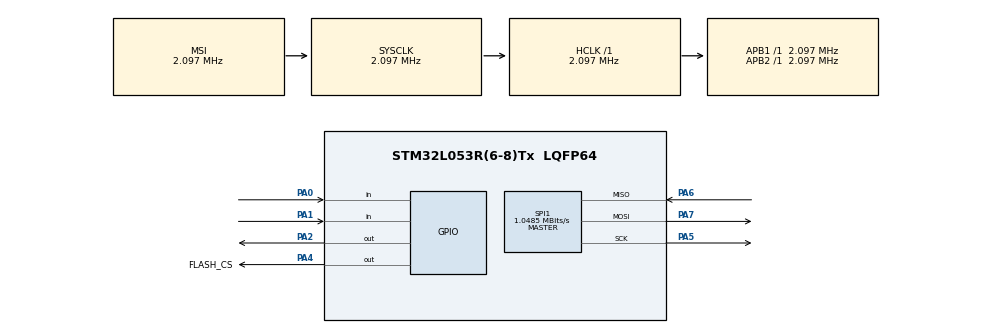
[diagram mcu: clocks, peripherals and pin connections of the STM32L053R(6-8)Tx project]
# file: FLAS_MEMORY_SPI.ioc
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Mcu.Family=STM32L0
Mcu.Name=STM32L053R(6-8)Tx
Mcu.Package=LQFP64
PA0.Signal=GPIO_Input
PA1.Signal=GPIO_Input
PA13.Mode=Serial_Wire
PA13.Signal=SYS_SWDIO
PA14.Mode=Serial_Wire
PA14.Signal=SYS_SWCLK
PA2.Signal=GPIO_Output
PA4.GPIO_Label=FLASH_CS
PA4.Signal=GPIO_Output
PA5.Mode=Full_Duplex_Master
PA5.Signal=SPI1_SCK
PA6.Mode=Full_Duplex_Master
PA6.Signal=SPI1_MISO
PA7.Mode=Full_Duplex_Master
PA7.Signal=SPI1_MOSI
PH0-OSC_IN.Mode=HSE-External-Oscillator
PH0-OSC_IN.Signal=RCC_OSC_IN
PH1-OSC_OUT.Mode=HSE-External-Oscillator
PH1-OSC_OUT.Signal=RCC_OSC_OUT
ProjectManager.HeapSize=0x200
ProjectManager.StackSize=0x400
ProjectManager.TargetToolchain=STM32CubeIDE
RCC.AHBFreq_Value=2097000
RCC.APB1Freq_Value=2097000
RCC.APB1TimFreq_Value=2097000
RCC.APB2Freq_Value=2097000
RCC.APB2TimFreq_Value=2097000
RCC.HSE_VALUE=8000000
RCC.HSI16_VALUE=16000000
RCC.HSI48_VALUE=48000000
RCC.HSI_VALUE=16000000
RCC.LSE_VALUE=32768
RCC.MSI_VALUE=2097000
RCC.SYSCLKFreq_VALUE=2097000
RCC.VCOOutputFreq_Value=48000000
SPI1.CalculateBaudRate=1.0485 MBits/s
SPI1.Direction=SPI_DIRECTION_2LINES
SPI1.Mode=SPI_MODE_MASTER
SPI1.VirtualType=VM_MASTER
board=custom

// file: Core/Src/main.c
/* USER CODE BEGIN Header */
/**
  ******************************************************************************
  * @file           : main.c
  * @brief          : Main program body
  ******************************************************************************
  * @attention
  *
  * Copyright (c) 2023 STMicroelectronics.
  * All rights reserved.
  *
  * This software is licensed under terms that can be found in the LICENSE file
  * in the root directory of this software component.
  * If no LICENSE file comes with this software, it is provided AS-IS.
  *
  ******************************************************************************
  */
/* USER CODE END Header */
#include "main.h"

/* USER CODE BEGIN Includes */
#include "w25qxx.h"
#include "w25qxxConf.h"
#include <string.h>
/* USER CODE END Includes */

/* USER CODE BEGIN PD */
#define PUSH_BUTTON1_Pin GPIO_PIN_0
#define PUSH_BUTTON1_GPIO_Port GPIOA
#define PUSH_BUTTON2_Pin GPIO_PIN_1
#define PUSH_BUTTON2_GPIO_Port GPIOA
#define LED_Pin GPIO_PIN_2
#define LED_GPIO_Port GPIOA
#define FLASH_CS_Pin GPIO_PIN_4
#define FLASH_CS_GPIO_Port GPIOA

/* USER CODE END PD */

SPI_HandleTypeDef hspi1;

/* USER CODE BEGIN PV */
#define MAX_SECTOR_SIZE 3
#define MAX_DATA_SIZE   3
uint8_t Read_Buf[3];
uint8_t Write_Buf[3]={3,2};
uint8_t SectorNum=0;
uint16_t offsetByte=0;
uint8_t ledStatus = 0;
/* USER CODE END PV */

void SystemClock_Config(void);
static void MX_GPIO_Init(void);
static void MX_SPI1_Init(void);

int main(void)
{

  /* MCU Configuration--------------------------------------------------------*/

  /* Reset of all peripherals, Initializes the Flash interface and the Systick. */
  HAL_Init();

  /* Configure the system clock */
  SystemClock_Config();

  /* Initialize all configured peripherals */
  MX_GPIO_Init();
  MX_SPI1_Init();
  /* USER CODE BEGIN 2 */
  SectorNum = 1;
  W25qxx_Init(); //function insitetited

  HAL_GPIO_WritePin(GPIOA, LED_Pin, GPIO_PIN_RESET);
  /* USER CODE END 2 */

  /* Infinite loop */
  while (1)
  {

	      // WriteSector of w25qxx spi flash memory
	      W25qxx_WriteSector(Write_Buf, SectorNum, offsetByte, MAX_DATA_SIZE); // Indicate the sector and offset for the write operation
	      W25qxx_ReadSector(Read_Buf, SectorNum, offsetByte, MAX_DATA_SIZE); // Read the sector to validate the write operation
	      HAL_Delay(1000); // Delay 0.5 seconds

	    if (HAL_GPIO_ReadPin(GPIOA, PUSH_BUTTON2_Pin) == GPIO_PIN_RESET) { // Button2 is pressed, turn OFF the LED
	        HAL_GPIO_WritePin(GPIOA, LED_Pin, GPIO_PIN_RESET); // Turn OFF the LED
	        ledStatus = 0; // Update the LED status variable
	        Write_Buf[2] &= 0xFE; // Modify the value in Write_Buf[2] to clear the third bit
	      }

	      if (HAL_GPIO_ReadPin(GPIOA, PUSH_BUTTON1_Pin) == GPIO_PIN_RESET) { // Button1 is pressed, turn ON the LED
	        HAL_GPIO_WritePin(GPIOA, LED_Pin, GPIO_PIN_SET); // Turn ON the LED
	        ledStatus = 1; // Update the LED status variable
	        Write_Buf[2] |= 0x01; // Modify the value in Write_Buf[2] to set the third bit
	      }

	      // ReadSector of the W25qxx spi flash memory
	      W25qxx_ReadSector(Read_Buf, SectorNum, offsetByte, MAX_DATA_SIZE); // Read the sector after modifying the LED status

	      HAL_Delay(1000); // Delay 0.5 seconds

	      if (memcmp(Write_Buf, Read_Buf, MAX_DATA_SIZE) == 0) {
	        offsetByte += MAX_DATA_SIZE; // Increment the offsetByte if the write operation is successful
	      }

	      SectorNum++; // Increment to move to the next sector

  }
}

void SystemClock_Config(void)
{
  RCC_OscInitTypeDef RCC_OscInitStruct = {0};
  RCC_ClkInitTypeDef RCC_ClkInitStruct = {0};

  /** Configure the main internal regulator output voltage
  */
  __HAL_PWR_VOLTAGESCALING_CONFIG(PWR_REGULATOR_VOLTAGE_SCALE1);

  /** Initializes the RCC Oscillators according to the specified parameters
  * in the RCC_OscInitTypeDef structure.
  */
  RCC_OscInitStruct.OscillatorType = RCC_OSCILLATORTYPE_MSI;
  RCC_OscInitStruct.MSIState = RCC_MSI_ON;
  RCC_OscInitStruct.MSICalibrationValue = 0;
  RCC_OscInitStruct.MSIClockRange = RCC_MSIRANGE_5;
  RCC_OscInitStruct.PLL.PLLState = RCC_PLL_NONE;
  if (HAL_RCC_OscConfig(&RCC_OscInitStruct) != HAL_OK)
  {
    Error_Handler();
  }

  /** Initializes the CPU, AHB and APB buses clocks
  */
  RCC_ClkInitStruct.ClockType = RCC_CLOCKTYPE_HCLK|RCC_CLOCKTYPE_SYSCLK
                              |RCC_CLOCKTYPE_PCLK1|RCC_CLOCKTYPE_PCLK2;
  RCC_ClkInitStruct.SYSCLKSource = RCC_SYSCLKSOURCE_MSI;
  RCC_ClkInitStruct.AHBCLKDivider = RCC_SYSCLK_DIV1;
  RCC_ClkInitStruct.APB1CLKDivider = RCC_HCLK_DIV1;
  RCC_ClkInitStruct.APB2CLKDivider = RCC_HCLK_DIV1;

  if (HAL_RCC_ClockConfig(&RCC_ClkInitStruct, FLASH_LATENCY_0) != HAL_OK)
  {
    Error_Handler();
  }
}

static void MX_SPI1_Init(void)
{

  /* SPI1 parameter configuration*/
  hspi1.Instance = SPI1;
  hspi1.Init.Mode = SPI_MODE_MASTER;
  hspi1.Init.Direction = SPI_DIRECTION_2LINES;
  hspi1.Init.DataSize = SPI_DATASIZE_8BIT;
  hspi1.Init.CLKPolarity = SPI_POLARITY_LOW;
  hspi1.Init.CLKPhase = SPI_PHASE_1EDGE;
  hspi1.Init.NSS = SPI_NSS_SOFT;
  hspi1.Init.BaudRatePrescaler = SPI_BAUDRATEPRESCALER_2;
  hspi1.Init.FirstBit = SPI_FIRSTBIT_MSB;
  hspi1.Init.TIMode = SPI_TIMODE_DISABLE;
  hspi1.Init.CRCCalculation = SPI_CRCCALCULATION_DISABLE;
  hspi1.Init.CRCPolynomial = 7;
  if (HAL_SPI_Init(&hspi1) != HAL_OK)
  {
    Error_Handler();
  }

}

static void MX_GPIO_Init(void)
{
  GPIO_InitTypeDef GPIO_InitStruct = {0};

  /* GPIO Ports Clock Enable */
  __HAL_RCC_GPIOH_CLK_ENABLE();
  __HAL_RCC_GPIOA_CLK_ENABLE();

  /*Configure GPIO pin Output Level */
  HAL_GPIO_WritePin(GPIOA, GPIO_PIN_2|FLASH_CS_Pin, GPIO_PIN_RESET);

  /*Configure GPIO pins : PA0 PA1 */
  GPIO_InitStruct.Pin = GPIO_PIN_0|GPIO_PIN_1;
  GPIO_InitStruct.Mode = GPIO_MODE_INPUT;
  GPIO_InitStruct.Pull = GPIO_NOPULL;
  HAL_GPIO_Init(GPIOA, &GPIO_InitStruct);

  /*Configure GPIO pins : PA2 FLASH_CS_Pin */
  GPIO_InitStruct.Pin = GPIO_PIN_2|FLASH_CS_Pin;
  GPIO_InitStruct.Mode = GPIO_MODE_OUTPUT_PP;
  GPIO_InitStruct.Pull = GPIO_NOPULL;
  GPIO_InitStruct.Speed = GPIO_SPEED_FREQ_LOW;
  HAL_GPIO_Init(GPIOA, &GPIO_InitStruct);

}

void Error_Handler(void)
{
  __disable_irq();
  while (1)
  {
  }
}
